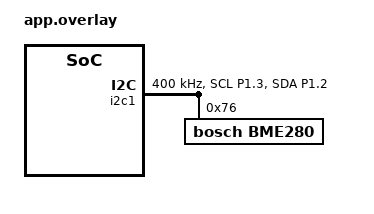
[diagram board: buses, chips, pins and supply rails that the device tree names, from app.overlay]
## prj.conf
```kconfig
#
# Copyright (c) 2018 Nordic Semiconductor
#
# SPDX-License-Identifier: LicenseRef-Nordic-5-Clause
#

# Enable the UART driver
CONFIG_UART_ASYNC_API=y
CONFIG_NRFX_UARTE0=y
CONFIG_SERIAL=y

CONFIG_GPIO=y

# Make sure printk is printing to the UART console
CONFIG_CONSOLE=y
CONFIG_UART_CONSOLE=y

CONFIG_HEAP_MEM_POOL_SIZE=2048

CONFIG_BT=y
CONFIG_BT_PERIPHERAL=y
CONFIG_BT_DEVICE_NAME="Nordic_UART_Service"
CONFIG_BT_MAX_CONN=1
CONFIG_BT_MAX_PAIRED=1

# Enable the NUS service
CONFIG_BT_NUS=y

# Enable bonding
CONFIG_BT_SETTINGS=y
CONFIG_FLASH=y
CONFIG_FLASH_PAGE_LAYOUT=y
CONFIG_FLASH_MAP=y

# Enable DK LED and Buttons library
CONFIG_DK_LIBRARY=y

CONFIG_SYSTEM_WORKQUEUE_STACK_SIZE=2048
# Config logger
CONFIG_LOG=y
CONFIG_USE_SEGGER_RTT=y
CONFIG_LOG_BACKEND_RTT=y
CONFIG_LOG_BACKEND_UART=n
CONFIG_LOG_PRINTK=n

CONFIG_ASSERT=y

# Enable Sensor 
CONFIG_SENSOR=y
CONFIG_SENSOR_ASYNC_API=y

CONFIG_CBPRINTF_FP_SUPPORT=y

#Enable I2C
CONFIG_I2C=y
```

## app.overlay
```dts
/*
 * Combined overlay: NUS + BME280
 * Supports BLE UART service and I2C sensor
 */

/ {
	chosen {
		/* Keep UART0 for Nordic UART Service */
		nordic,nus-uart = &uart0;
	};
};

/* Enable Arduino I2C header and connect BME280 */
&pinctrl {
	i2c1_default: i2c1_default {
		group1 {
			psels = <NRF_PSEL(TWIM_SCL, 1, 3)>,
					<NRF_PSEL(TWIM_SDA, 1, 2)>;
			bias-pull-up;
		};
	};

	i2c1_sleep: i2c1_sleep {
		group1 {
			psels = <NRF_PSEL(TWIM_SCL, 1, 3)>,
					<NRF_PSEL(TWIM_SDA, 1, 2)>;
			low-power-enable;
		};
	};
};

&i2c1 {
	compatible = "nordic,nrf-twim";
	status = "okay";
	pinctrl-0 = <&i2c1_default>;
	pinctrl-1 = <&i2c1_sleep>;
	pinctrl-names = "default", "sleep";

	clock-frequency = <I2C_BITRATE_FAST>;

	bme280: bme280dev@76 {
		compatible = "bosch,bme280";
		reg = <0x76>;
	};
};
```

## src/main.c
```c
/*
 * Copyright (c) 2018 Nordic Semiconductor ASA
 *
 * SPDX-License-Identifier: LicenseRef-Nordic-5-Clause
 */

#include <uart_async_adapter.h>
#include <zephyr/types.h>
#include <zephyr/kernel.h>
#include <zephyr/drivers/uart.h>
#include <zephyr/drivers/i2c.h>
#include <zephyr/usb/usb_device.h>
#include <zephyr/device.h>
#include <zephyr/devicetree.h>
#include <soc.h>
#include <zephyr/bluetooth/bluetooth.h>
#include <zephyr/bluetooth/uuid.h>
#include <zephyr/bluetooth/gatt.h>
#include <zephyr/bluetooth/hci.h>
#include <bluetooth/services/nus.h>
#include <dk_buttons_and_leds.h>
#include <zephyr/settings/settings.h>
#include <zephyr/drivers/sensor.h>
#include <zephyr/sys/printk.h>
#include <stdio.h>
#include <string.h>
#include <zephyr/logging/log.h>

#define LOG_MODULE_NAME peripheral_uart
LOG_MODULE_REGISTER(LOG_MODULE_NAME);

#define STACKSIZE CONFIG_BT_NUS_THREAD_STACK_SIZE
#define PRIORITY 7

#define DEVICE_NAME CONFIG_BT_DEVICE_NAME
#define DEVICE_NAME_LEN (sizeof(DEVICE_NAME) - 1)

#define RUN_STATUS_LED DK_LED1
#define RUN_LED_BLINK_INTERVAL 1000

#define CON_STATUS_LED DK_LED2

#define KEY_PASSKEY_ACCEPT DK_BTN1_MSK
#define KEY_PASSKEY_REJECT DK_BTN2_MSK

#define UART_BUF_SIZE CONFIG_BT_NUS_UART_BUFFER_SIZE
#define UART_WAIT_FOR_BUF_DELAY K_MSEC(50)
#define UART_WAIT_FOR_RX CONFIG_BT_NUS_UART_RX_WAIT_TIME

#define BME280_I2C_ADDR 0x76

// ✅ FIX 4: Sampling interval changed from 500ms to 10s for ML data collection
// 500ms generates redundant data; 10s gives ~2880 readings/day (8hr active)
// Change back to K_MSEC(500) only if you need high-frequency burst testing
#define BME280_SAMPLE_INTERVAL_MS 10000

#define BME280_SENSOR DT_INST(0, bosch_bme280)
#if DT_NODE_EXISTS(BME280_SENSOR)
#define I2C_DEV DT_BUS(BME280_SENSOR)
#else
#define I2C_DEV DT_NODELABEL(i2c1)
#endif

static K_SEM_DEFINE(ble_init_ok, 0, 1);

static struct bt_conn *current_conn;
static const struct device *bme280_dev;
static const struct device *i2c_dev;
static struct bt_conn *auth_conn;

static struct k_work adv_work;
static struct k_work_delayable bme280_work;
static const struct device *uart = DEVICE_DT_GET(DT_CHOSEN(nordic_nus_uart));
static struct k_work_delayable uart_work;

static void bme280_work_handler(struct k_work *work);

struct uart_data_t {
    void *fifo_reserved;
    uint8_t data[UART_BUF_SIZE];
    uint16_t len;
};

static K_FIFO_DEFINE(fifo_uart_tx_data);
static K_FIFO_DEFINE(fifo_uart_rx_data);

static const struct bt_data ad[] = {
    BT_DATA_BYTES(BT_DATA_FLAGS, (BT_LE_AD_GENERAL | BT_LE_AD_NO_BREDR)),
    BT_DATA(BT_DATA_NAME_COMPLETE, DEVICE_NAME, DEVICE_NAME_LEN),
};

static const struct bt_data sd[] = {
    BT_DATA_BYTES(BT_DATA_UUID128_ALL, BT_UUID_NUS_VAL),
};

#ifdef CONFIG_UART_ASYNC_ADAPTER
UART_ASYNC_ADAPTER_INST_DEFINE(async_adapter);
#else
#define async_adapter NULL
#endif

static void uart_cb(const struct device *dev, struct uart_event *evt, void *user_data)
{
    ARG_UNUSED(dev);

    static size_t aborted_len;
    struct uart_data_t *buf;
    static uint8_t *aborted_buf;
    static bool disable_req;

    switch (evt->type) {
    case UART_TX_DONE:
        LOG_DBG("UART_TX_DONE");
        if ((evt->data.tx.len == 0) || (!evt->data.tx.buf)) {
            return;
        }
        if (aborted_buf) {
            buf = CONTAINER_OF(aborted_buf, struct uart_data_t, data[0]);
            aborted_buf = NULL;
            aborted_len = 0;
        } else {
            buf = CONTAINER_OF(evt->data.tx.buf, struct uart_data_t, data[0]);
        }
        k_free(buf);
        buf = k_fifo_get(&fifo_uart_tx_data, K_NO_WAIT);
        if (!buf) { return; }
        if (uart_tx(uart, buf->data, buf->len, SYS_FOREVER_MS)) {
            LOG_WRN("Failed to send data over UART");
        }
        break;

    case UART_RX_RDY:
        LOG_DBG("UART_RX_RDY");
        buf = CONTAINER_OF(evt->data.rx.buf, struct uart_data_t, data[0]);
        buf->len += evt->data.rx.len;
        if (disable_req) { return; }
        if ((evt->data.rx.buf[buf->len - 1] == '\n') ||
            (evt->data.rx.buf[buf->len - 1] == '\r')) {
            disable_req = true;
            uart_rx_disable(uart);
        }
        break;

    case UART_RX_DISABLED:
        LOG_DBG("UART_RX_DISABLED");
        disable_req = false;
        buf = k_malloc(sizeof(*buf));
        if (buf) {
            buf->len = 0;
        } else {
            LOG_WRN("Not able to allocate UART receive buffer");
            k_work_reschedule(&uart_work, UART_WAIT_FOR_BUF_DELAY);
            return;
        }
        uart_rx_enable(uart, buf->data, sizeof(buf->data), UART_WAIT_FOR_RX);
        break;

    case UART_RX_BUF_REQUEST:
        LOG_DBG("UART_RX_BUF_REQUEST");
        buf = k_malloc(sizeof(*buf));
        if (buf) {
            buf->len = 0;
            uart_rx_buf_rsp(uart, buf->data, sizeof(buf->data));
        } else {
            LOG_WRN("Not able to allocate UART receive buffer");
        }
        break;

    case UART_RX_BUF_RELEASED:
        LOG_DBG("UART_RX_BUF_RELEASED");
        buf = CONTAINER_OF(evt->data.rx_buf.buf, struct uart_data_t, data[0]);
        if (buf->len > 0) {
            k_fifo_put(&fifo_uart_rx_data, buf);
        } else {
            k_free(buf);
        }
        break;

    case UART_TX_ABORTED:
        LOG_DBG("UART_TX_ABORTED");
        if (!aborted_buf) {
            aborted_buf = (uint8_t *)evt->data.tx.buf;
        }
        aborted_len += evt->data.tx.len;
        buf = CONTAINER_OF((void *)aborted_buf, struct uart_data_t, data);
        uart_tx(uart, &buf->data[aborted_len], buf->len - aborted_len, SYS_FOREVER_MS);
        break;

    default:
        break;
    }
}

static void uart_work_handler(struct k_work *item)
{
    struct uart_data_t *buf;
    buf = k_malloc(sizeof(*buf));
    if (buf) {
        buf->len = 0;
    } else {
        LOG_WRN("Not able to allocate UART receive buffer");
        k_work_reschedule(&uart_work, UART_WAIT_FOR_BUF_DELAY);
        return;
    }
    uart_rx_enable(uart, buf->data, sizeof(buf->data), UART_WAIT_FOR_RX);
}

static bool uart_test_async_api(const struct device *dev)
{
    const struct uart_driver_api *api = (const struct uart_driver_api *)dev->api;
    return (api->callback_set != NULL);
}

static int uart_init(void)
{
    int err;
    int pos;
    struct uart_data_t *rx;
    struct uart_data_t *tx;

    if (!device_is_ready(uart)) { return -ENODEV; }

    if (IS_ENABLED(CONFIG_USB_DEVICE_STACK)) {
        err = usb_enable(NULL);
        if (err && (err != -EALREADY)) {
            LOG_ERR("Failed to enable USB");
            return err;
        }
    }

    rx = k_malloc(sizeof(*rx));
    if (rx) { rx->len = 0; }
    else { return -ENOMEM; }

    k_work_init_delayable(&uart_work, uart_work_handler);

    if (IS_ENABLED(CONFIG_UART_ASYNC_ADAPTER) && !uart_test_async_api(uart)) {
        uart_async_adapter_init(async_adapter, uart);
        uart = async_adapter;
    }

    err = uart_callback_set(uart, uart_cb, NULL);
    if (err) {
        k_free(rx);
        LOG_ERR("Cannot initialize UART callback");
        return err;
    }

    if (IS_ENABLED(CONFIG_UART_LINE_CTRL)) {
        LOG_INF("Wait for DTR");
        while (true) {
            uint32_t dtr = 0;
            uart_line_ctrl_get(uart, UART_LINE_CTRL_DTR, &dtr);
            if (dtr) { break; }
            k_sleep(K_MSEC(100));
        }
        LOG_INF("DTR set");
        err = uart_line_ctrl_set(uart, UART_LINE_CTRL_DCD, 1);
        if (err) { LOG_WRN("Failed to set DCD, ret code %d", err); }
        err = uart_line_ctrl_set(uart, UART_LINE_CTRL_DSR, 1);
        if (err) { LOG_WRN("Failed to set DSR, ret code %d", err); }
    }

    tx = k_malloc(sizeof(*tx));
    if (tx) {
        pos = snprintf(tx->data, sizeof(tx->data), "Starting Nordic UART service sample\r\n");
        if ((pos < 0) || (pos >= sizeof(tx->data))) {
            k_free(rx); k_free(tx);
            LOG_ERR("snprintf returned %d", pos);
            return -ENOMEM;
        }
        tx->len = pos;
    } else {
        k_free(rx);
        return -ENOMEM;
    }

    err = uart_tx(uart, tx->data, tx->len, SYS_FOREVER_MS);
    if (err) {
        k_free(rx); k_free(tx);
        LOG_ERR("Cannot display welcome message (err: %d)", err);
        return err;
    }

    err = uart_rx_enable(uart, rx->data, sizeof(rx->data), UART_WAIT_FOR_RX);
    if (err) {
        LOG_ERR("Cannot enable uart reception (err: %d)", err);
        k_free(rx);
    }

    return err;
}

static void adv_work_handler(struct k_work *work)
{
    int err = bt_le_adv_start(BT_LE_ADV_CONN_FAST_2, ad, ARRAY_SIZE(ad), sd, ARRAY_SIZE(sd));
    if (err) {
        LOG_ERR("Advertising failed to start (err %d)", err);
        return;
    }
    LOG_INF("Advertising successfully started");
}

static void bme280_work_handler(struct k_work *work)
{
    int err;
    struct sensor_value temp, hum, press;
    char nus_msg[96];
    int len;

    err = sensor_sample_fetch(bme280_dev);
    if (err) {
        LOG_ERR("sensor_sample_fetch failed (err %d)", err);
        k_work_reschedule(&bme280_work, K_MSEC(BME280_SAMPLE_INTERVAL_MS));
        return;
    }

    sensor_channel_get(bme280_dev, SENSOR_CHAN_AMBIENT_TEMP, &temp);
    sensor_channel_get(bme280_dev, SENSOR_CHAN_HUMIDITY, &hum);
    sensor_channel_get(bme280_dev, SENSOR_CHAN_PRESS, &press);

    // pressure: sensor returns Pa, divide by 100 to get hPa
    double press_hpa = sensor_value_to_double(&press) *10.0;

    printk("T=%.2fC H=%.2f%% P=%.2fhPa\n",
           sensor_value_to_double(&temp),
           sensor_value_to_double(&hum),
           press_hpa);

    // ✅ Format matches the regex in BLEManager.swift exactly
    len = snprintk(nus_msg, sizeof(nus_msg),
                   "T=%.2fC H=%.2f%% P=%.2fhPa\r\n",
                   sensor_value_to_double(&temp),
                   sensor_value_to_double(&hum),
                   press_hpa);

    if (current_conn && len > 0) {
        err = bt_nus_send(NULL, (uint8_t *)nus_msg, len);
        if (err) {
            LOG_WRN("bt_nus_send failed (err %d)", err);
        }
    }

    // ✅ FIX 4: 10 second interval instead of 500ms
    k_work_reschedule(&bme280_work, K_MSEC(BME280_SAMPLE_INTERVAL_MS));
}

static void advertising_start(void)
{
    k_work_submit(&adv_work);
}

static void connected(struct bt_conn *conn, uint8_t err)
{
    char addr[BT_ADDR_LE_STR_LEN];
    if (err) {
        LOG_ERR("Connection failed, err 0x%02x %s", err, bt_hci_err_to_str(err));
        return;
    }
    bt_addr_le_to_str(bt_conn_get_dst(conn), addr, sizeof(addr));
    LOG_INF("Connected %s", addr);
    current_conn = bt_conn_ref(conn);
    dk_set_led_on(CON_STATUS_LED);
}

static void disconnected(struct bt_conn *conn, uint8_t reason)
{
    char addr[BT_ADDR_LE_STR_LEN];
    bt_addr_le_to_str(bt_conn_get_dst(conn), addr, sizeof(addr));
    LOG_INF("Disconnected: %s, reason 0x%02x %s", addr, reason, bt_hci_err_to_str(reason));
    if (auth_conn) { bt_conn_unref(auth_conn); auth_conn = NULL; }
    if (current_conn) { bt_conn_unref(current_conn); current_conn = NULL; dk_set_led_off(CON_STATUS_LED); }
}

static void recycled_cb(void)
{
    LOG_INF("Connection object available from previous conn. Disconnect is complete!");
    advertising_start();
}

#ifdef CONFIG_BT_NUS_SECURITY_ENABLED
static void security_changed(struct bt_conn *conn, bt_security_t level, enum bt_security_err err)
{
    char addr[BT_ADDR_LE_STR_LEN];
    bt_addr_le_to_str(bt_conn_get_dst(conn), addr, sizeof(addr));
    if (!err) { LOG_INF("Security changed: %s level %u", addr, level); }
    else { LOG_WRN("Security failed: %s level %u err %d %s", addr, level, err, bt_security_err_to_str(err)); }
}
#endif

BT_CONN_CB_DEFINE(conn_callbacks) = {
    .connected        = connected,
    .disconnected     = disconnected,
    .recycled         = recycled_cb,
#ifdef CONFIG_BT_NUS_SECURITY_ENABLED
    .security_changed = security_changed,
#endif
};

#if defined(CONFIG_BT_NUS_SECURITY_ENABLED)
static void auth_passkey_display(struct bt_conn *conn, unsigned int passkey)
{
    char addr[BT_ADDR_LE_STR_LEN];
    bt_addr_le_to_str(bt_conn_get_dst(conn), addr, sizeof(addr));
    LOG_INF("Passkey for %s: %06u", addr, passkey);
}

static void auth_passkey_confirm(struct bt_conn *conn, unsigned int passkey)
{
    char addr[BT_ADDR_LE_STR_LEN];
    auth_conn = bt_conn_ref(conn);
    bt_addr_le_to_str(bt_conn_get_dst(conn), addr, sizeof(addr));
    LOG_INF("Passkey for %s: %06u", addr, passkey);
    if (IS_ENABLED(CONFIG_SOC_SERIES_NRF54HX) || IS_ENABLED(CONFIG_SOC_SERIES_NRF54LX)) {
        LOG_INF("Press Button 0 to confirm, Button 1 to reject.");
    } else {
        LOG_INF("Press Button 1 to confirm, Button 2 to reject.");
    }
}

static void auth_cancel(struct bt_conn *conn)
{
    char addr[BT_ADDR_LE_STR_LEN];
    bt_addr_le_to_str(bt_conn_get_dst(conn), addr, sizeof(addr));
    LOG_INF("Pairing cancelled: %s", addr);
}

static void pairing_complete(struct bt_conn *conn, bool bonded)
{
    char addr[BT_ADDR_LE_STR_LEN];
    bt_addr_le_to_str(bt_conn_get_dst(conn), addr, sizeof(addr));
    LOG_INF("Pairing completed: %s, bonded: %d", addr, bonded);
}

static void pairing_failed(struct bt_conn *conn, enum bt_security_err reason)
{
    char addr[BT_ADDR_LE_STR_LEN];
    bt_addr_le_to_str(bt_conn_get_dst(conn), addr, sizeof(addr));
    LOG_INF("Pairing failed conn: %s, reason %d %s", addr, reason, bt_security_err_to_str(reason));
}

static struct bt_conn_auth_cb conn_auth_callbacks = {
    .passkey_display = auth_passkey_display,
    .passkey_confirm = auth_passkey_confirm,
    .cancel = auth_cancel,
};

static struct bt_conn_auth_info_cb conn_auth_info_callbacks = {
    .pairing_complete = pairing_complete,
    .pairing_failed = pairing_failed
};
#else
static struct bt_conn_auth_cb conn_auth_callbacks;
static struct bt_conn_auth_info_cb conn_auth_info_callbacks;
#endif

static void bt_receive_cb(struct bt_conn *conn, const uint8_t *const data, uint16_t len)
{
    int err;
    char addr[BT_ADDR_LE_STR_LEN] = {0};
    bt_addr_le_to_str(bt_conn_get_dst(conn), addr, ARRAY_SIZE(addr));
    LOG_INF("Received data from: %s", addr);

    for (uint16_t pos = 0; pos != len;) {
        struct uart_data_t *tx = k_malloc(sizeof(*tx));
        if (!tx) { LOG_WRN("Not able to allocate UART send data buffer"); return; }
        size_t tx_data_size = sizeof(tx->data) - 1;
        if ((len - pos) > tx_data_size) { tx->len = tx_data_size; }
        else { tx->len = (len - pos); }
        memcpy(tx->data, &data[pos], tx->len);
        pos += tx->len;
        if ((pos == len) && (data[len - 1] == '\r')) { tx->data[tx->len] = '\n'; tx->len++; }
        err = uart_tx(uart, tx->data, tx->len, SYS_FOREVER_MS);
        if (err) { k_fifo_put(&fifo_uart_tx_data, tx); }
    }
}

static struct bt_nus_cb nus_cb = {
    .received = bt_receive_cb,
};

void error(void)
{
    dk_set_leds_state(DK_ALL_LEDS_MSK, DK_NO_LEDS_MSK);
    while (true) { k_sleep(K_MSEC(1000)); }
}

#ifdef CONFIG_BT_NUS_SECURITY_ENABLED
static void num_comp_reply(bool accept)
{
    if (accept) { bt_conn_auth_passkey_confirm(auth_conn); LOG_INF("Numeric Match, conn %p", (void *)auth_conn); }
    else { bt_conn_auth_cancel(auth_conn); LOG_INF("Numeric Reject, conn %p", (void *)auth_conn); }
    bt_conn_unref(auth_conn);
    auth_conn = NULL;
}

void button_changed(uint32_t button_state, uint32_t has_changed)
{
    uint32_t buttons = button_state & has_changed;
    if (auth_conn) {
        if (buttons & KEY_PASSKEY_ACCEPT) { num_comp_reply(true); }
        if (buttons & KEY_PASSKEY_REJECT) { num_comp_reply(false); }
    }
}
#endif

static void configure_gpio(void)
{
    int err;
#ifdef CONFIG_BT_NUS_SECURITY_ENABLED
    err = dk_buttons_init(button_changed);
    if (err) { LOG_ERR("Cannot init buttons (err: %d)", err); }
#endif
    err = dk_leds_init();
    if (err) { LOG_ERR("Cannot init LEDs (err: %d)", err); }
}

int main(void)
{
    int blink_status = 0;
    int err = 0;

    configure_gpio();

    err = uart_init();
    if (err) { error(); }

    if (IS_ENABLED(CONFIG_BT_NUS_SECURITY_ENABLED)) {
        err = bt_conn_auth_cb_register(&conn_auth_callbacks);
        if (err) { LOG_ERR("Failed to register authorization callbacks. (err: %d)", err); return 0; }
        err = bt_conn_auth_info_cb_register(&conn_auth_info_callbacks);
        if (err) { LOG_ERR("Failed to register authorization info callbacks. (err: %d)", err); return 0; }
    }

    err = bt_enable(NULL);
    if (err) { error(); }

    LOG_INF("Bluetooth initialized");
    k_sem_give(&ble_init_ok);

    if (IS_ENABLED(CONFIG_SETTINGS)) { settings_load(); }

    err = bt_nus_init(&nus_cb);
    if (err) { LOG_ERR("Failed to initialize UART service (err: %d)", err); return 0; }

    k_work_init(&adv_work, adv_work_handler);
    advertising_start();

    i2c_dev = DEVICE_DT_GET(I2C_DEV);
    if (!device_is_ready(i2c_dev)) {
        LOG_ERR("I2C device not ready");
    } else {
        LOG_INF("I2C device ready");
    }

    bme280_dev = DEVICE_DT_GET(BME280_SENSOR);
    if (!device_is_ready(bme280_dev)) {
        LOG_WRN("BME280 not ready (check wiring/devicetree)");
    } else {
        LOG_INF("BME280 ready, sampling every %d ms", BME280_SAMPLE_INTERVAL_MS);
        k_work_init_delayable(&bme280_work, bme280_work_handler);
        k_work_schedule(&bme280_work, K_SECONDS(1));
    }

    for (;;) {
        dk_set_led(RUN_STATUS_LED, (++blink_status) % 2);
        k_sleep(K_MSEC(RUN_LED_BLINK_INTERVAL));
    }

    return 0;
}

void ble_write_thread(void)
{
    k_sem_take(&ble_init_ok, K_FOREVER);
    struct uart_data_t nus_data = { .len = 0 };

    for (;;) {
        struct uart_data_t *buf = k_fifo_get(&fifo_uart_rx_data, K_FOREVER);
        int plen = MIN(sizeof(nus_data.data) - nus_data.len, buf->len);
        int loc = 0;

        while (plen > 0) {
            memcpy(&nus_data.data[nus_data.len], &buf->data[loc], plen);
            nus_data.len += plen;
            loc += plen;

            if (nus_data.len >= sizeof(nus_data.data) ||
               (nus_data.data[nus_data.len - 1] == '\n') ||
               (nus_data.data[nus_data.len - 1] == '\r')) {
                if (bt_nus_send(NULL, nus_data.data, nus_data.len)) {
                    LOG_WRN("Failed to send data over BLE connection");
                }
                nus_data.len = 0;
            }
            plen = MIN(sizeof(nus_data.data), buf->len - loc);
        }
        k_free(buf);
    }
}

K_THREAD_DEFINE(ble_write_thread_id, STACKSIZE, ble_write_thread, NULL, NULL,
        NULL, PRIORITY, 0, 0);
```
